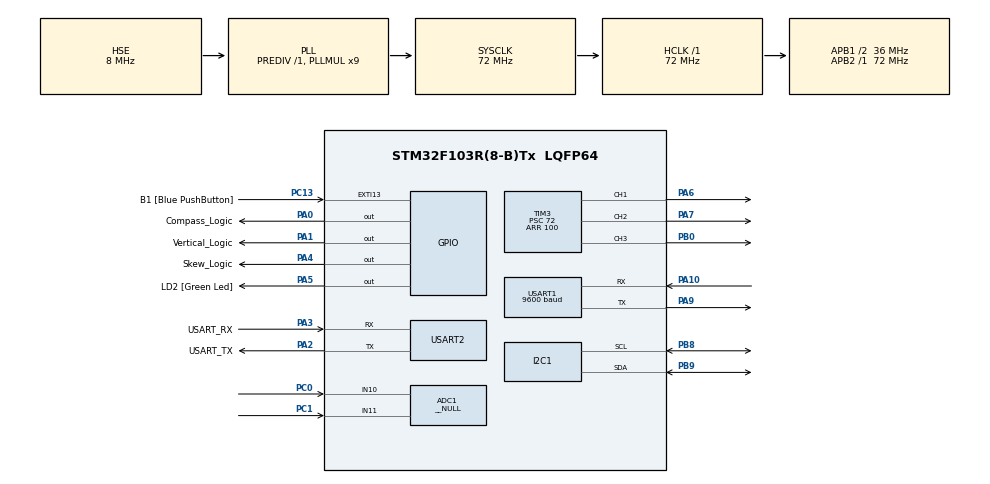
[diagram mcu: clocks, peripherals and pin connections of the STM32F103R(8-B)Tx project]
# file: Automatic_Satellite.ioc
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ADC1.Channel-3\#ChannelRegularConversion=ADC_CHANNEL_10
ADC1.Channel-4\#ChannelRegularConversion=ADC_CHANNEL_11
ADC1.ContinuousConvMode=ENABLE
ADC1.EnableAnalogWatchDog=false
ADC1.Mode=__NULL
ADC1.NbrOfConversion=2
ADC1.NbrOfConversionFlag=1
ADC1.Rank-3\#ChannelRegularConversion=1
ADC1.Rank-4\#ChannelRegularConversion=2
ADC1.SamplingTime-3\#ChannelRegularConversion=ADC_SAMPLETIME_28CYCLES_5
ADC1.SamplingTime-4\#ChannelRegularConversion=ADC_SAMPLETIME_28CYCLES_5
ADC1.master=1
I2C1.I2C_Mode=I2C_Fast
Mcu.Family=STM32F1
Mcu.Name=STM32F103R(8-B)Tx
Mcu.Package=LQFP64
NVIC.ADC1_2_IRQn=true\:0\:0\:false\:false\:true\:true\:true
NVIC.EXTI15_10_IRQn=true\:0\:0\:false\:false\:true\:true\:true
NVIC.PriorityGroup=NVIC_PRIORITYGROUP_4
NVIC.USART1_IRQn=true\:0\:0\:false\:false\:true\:true\:true
NVIC.USART2_IRQn=true\:0\:0\:false\:false\:true\:true\:true
PA0-WKUP.GPIO_Label=Compass_Logic
PA0-WKUP.Signal=GPIO_Output
PA1.GPIO_Label=Vertical_Logic
PA1.Signal=GPIO_Output
PA10.GPIO_PuPd=GPIO_PULLUP
PA10.Mode=Asynchronous
PA10.Signal=USART1_RX
PA13.GPIO_Label=TMS
PA13.Mode=Serial_Wire
PA13.Signal=SYS_JTMS-SWDIO
PA14.GPIO_Label=TCK
PA14.Mode=Serial_Wire
PA14.Signal=SYS_JTCK-SWCLK
PA2.GPIO_Label=USART_TX
PA2.GPIO_Mode=GPIO_MODE_AF_PP
PA2.GPIO_PuPd=GPIO_NOPULL
PA2.GPIO_Speed=GPIO_SPEED_FREQ_LOW
PA2.Mode=Asynchronous
PA2.Signal=USART2_TX
PA3.GPIO_Label=USART_RX
PA3.GPIO_Mode=GPIO_MODE_AF_PP
PA3.GPIO_PuPd=GPIO_PULLUP
PA3.GPIO_Speed=GPIO_SPEED_FREQ_LOW
PA3.Mode=Asynchronous
PA3.Signal=USART2_RX
PA4.GPIO_Label=Skew_Logic
PA4.Signal=GPIO_Output
PA5.GPIO_Label=LD2 [Green Led]
PA5.GPIO_ModeDefaultOutputPP=GPIO_MODE_OUTPUT_PP
PA5.GPIO_PuPd=GPIO_NOPULL
PA5.GPIO_Speed=GPIO_SPEED_FREQ_LOW
PA5.Signal=GPIO_Output
PA6.Signal=S_TIM3_CH1
PA7.Signal=S_TIM3_CH2
PA9.Mode=Asynchronous
PA9.Signal=USART1_TX
PB0.Signal=S_TIM3_CH3
PB3.GPIO_Label=SWO
PB3.Signal=SYS_JTDO-TRACESWO
PB8.Mode=I2C
PB8.Signal=I2C1_SCL
PB9.Mode=I2C
PB9.Signal=I2C1_SDA
PC0.Signal=ADCx_IN10
PC1.Signal=ADCx_IN11
PC13-TAMPER-RTC.GPIO_Label=B1 [Blue PushButton]
PC13-TAMPER-RTC.GPIO_PuPd=GPIO_NOPULL
PC13-TAMPER-RTC.Signal=GPXTI13
PC14-OSC32_IN.Mode=LSE-External-Oscillator
PC14-OSC32_IN.Signal=RCC_OSC32_IN
PC15-OSC32_OUT.Mode=LSE-External-Oscillator
PC15-OSC32_OUT.Signal=RCC_OSC32_OUT
PD0-OSC_IN.Mode=HSE-External-Oscillator
PD0-OSC_IN.Signal=RCC_OSC_IN
PD1-OSC_OUT.Mode=HSE-External-Oscillator
PD1-OSC_OUT.Signal=RCC_OSC_OUT
ProjectManager.HeapSize=0x200
ProjectManager.StackSize=0x400
ProjectManager.TargetToolchain=MDK-ARM V5
RCC.ADCPresc=RCC_ADCPCLK2_DIV6
RCC.AHBFreq_Value=72000000
RCC.APB1CLKDivider=RCC_HCLK_DIV2
RCC.APB1Freq_Value=36000000
RCC.APB1TimFreq_Value=72000000
RCC.APB2Freq_Value=72000000
RCC.APB2TimFreq_Value=72000000
RCC.HCLKFreq_Value=72000000
RCC.PLLMUL=RCC_PLL_MUL9
RCC.PLLSourceVirtual=RCC_PLLSOURCE_HSE
RCC.RTCClockSelection=RCC_RTCCLKSOURCE_LSE
RCC.SYSCLKFreq_VALUE=72000000
RCC.SYSCLKSource=RCC_SYSCLKSOURCE_PLLCLK
RCC.USBFreq_Value=72000000
SH.ADCx_IN10.0=ADC1_IN10,IN10
SH.ADCx_IN11.0=ADC1_IN11,IN11
SH.S_TIM3_CH1.0=TIM3_CH1,PWM Generation1 CH1
SH.S_TIM3_CH2.0=TIM3_CH2,PWM Generation2 CH2
SH.S_TIM3_CH3.0=TIM3_CH3,PWM Generation3 CH3
TIM3.Channel-PWM\ Generation1\ CH1=TIM_CHANNEL_1
TIM3.Channel-PWM\ Generation2\ CH2=TIM_CHANNEL_2
TIM3.Channel-PWM\ Generation3\ CH3=TIM_CHANNEL_3
TIM3.Period=100
TIM3.Prescaler=72
USART1.BaudRate=9600
USART1.VirtualMode=VM_ASYNC
USART2.VirtualMode=VM_ASYNC
VP_TIM3_VS_ClockSourceINT.Mode=Internal
board=NUCLEO-F103RB

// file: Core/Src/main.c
/* USER CODE BEGIN Header */
/**
  ******************************************************************************
  * @file           : main.c
  * @brief          : Main program body
	* @Programmer     : Mingxiao Li
  ******************************************************************************
  * @attention
  *
  * Copyright (c) 2022 STMicroelectronics.
  * All rights reserved.
  *
  * This software is licensed under terms that can be found in the LICENSE file
  * in the root directory of this software component.
  * If no LICENSE file comes with this software, it is provided AS-IS.
  *
  ******************************************************************************
  */
/* USER CODE END Header */
#include "main.h"
#include "adc.h"
#include "i2c.h"
#include "tim.h"
#include "usart.h"
#include "gpio.h"

/* USER CODE BEGIN Includes */
#include "string.h"
#include "GPS.h"
#include "bno055.h"
#include "bno055_stm32.h"
#include "PWM.h"
#include "function.h"
#include "signal_strength.h"
/* USER CODE END Includes */

/* USER CODE BEGIN PV */
	Coo_Cal Coordinate;//GPS type
 	bno055_vector_t vmg;// mag type
  bno055_vector_t vag;//Acc type
	bno055_vector_t vg,vgy;
	bno055_calibration_state_t cs;
	bno055_calibration_data_t cd;
	Radians thetaphi;
	tilt_YX tilted;
	DM la, lo;
	loc dish;
	loc sat_82,
				sat_91,
				sat_91_82;
	GPSang angs;//GPS_Angles
	double ini_set = 30;//the largest angle thet the skew moter can go
  double Compass=0;
	double Xg=0,Yg=0,Zg=0;

	bool is_cmps = false;
	bool is_vert = false;
	bool is_skew = false;

	/*********Signal Strength********/
	strs test_s;// the signal strength after move
	strs last_s;// the signal strength before move
	strs best_s;// the best signal strength the dish have
	GPSang test_ang;//the 3 angles for current dish position

	bool is_str_test = false;//we need to enter the signal strength test
	int cal_ang_read = 0;

	bool cmps_finish = false;
	bool cmps_reverse = false;
	bool cmps_increase = false;
	bool cmps_inc_delay = false;
	bool cmps_delay_off = false;
	bool is_cmps_in_range = false;
	int cmps_inc_counter = 0;
	int cmps_counter = 0;

	bool vert_finish = false;
	bool vert_reverse = false;
	bool vert_increase = false;
	bool vert_inc_delay = false;
	bool vert_delay_off = false;
	bool is_vert_in_range = false;

	int vert_inc_counter = 0;
	int vert_counter = 0;

	uint16_t Nimq82,Nimq91;//adc variables

/* USER CODE END PV */

void SystemClock_Config(void);

int main(void)
 {
  /* USER CODE BEGIN 1 */
	//Shuo
	/*********************************GPS Angle Variables*********************************/
	//Nimiq 82
		double pie = 3.1415926;
	  sat_82.lati = 0;
		sat_82.longi = -82*pie/180;;
	//Nimiq 91
	  sat_91.lati = 0;
	  sat_91.longi = -91*pie/180;
		sat_91_82.lati = 0;
	sat_91_82.longi = (sat_91.longi+sat_82.longi)/2;
	/*********calculation_&_moves********/

	//strength
	/****************************************************************************/

  /* USER CODE END 1 */

  /* MCU Configuration--------------------------------------------------------*/

  /* Reset of all peripherals, Initializes the Flash interface and the Systick. */
  HAL_Init();

  /* Configure the system clock */
  SystemClock_Config();

  /* Initialize all configured peripherals */
  MX_GPIO_Init();
  MX_TIM3_Init();
  MX_USART1_UART_Init();
  MX_USART2_UART_Init();
  MX_ADC1_Init();
  MX_I2C1_Init();
  /* USER CODE BEGIN 2 */
	/*******************I/O Initializations**************/
	/**************GPS Initialization************/
	GPS_Init();		 //Compass Initialization
	/*********************Adafruit**********************/
	bno055_assignI2C(&hi2c1);
	bno055_setup();
  bno055_setOperationModeCOMPASS();

	/*****************Motors PWM Control Init***** ***/
 	HAL_TIM_PWM_Start(&htim3, TIM_CHANNEL_1);
 	HAL_TIM_PWM_Start(&htim3, TIM_CHANNEL_2);
 	HAL_TIM_PWM_Start(&htim3, TIM_CHANNEL_3);

	/********Parse and Import GPS Coordinate */

  for(int i=0;i<100;i++)
	{
		GPS_ext();
		Coordinate = Ext_Dec();
	}

	la.deg = Coordinate.La_De;
	la.min = Coordinate.La_Min_De;
	la.a = 'n';
	lo.deg = Coordinate.Lo_De;
	lo.min = Coordinate.Lo_Min_De;
	lo.a = 'w';
	dish = MtoR(la, lo);//minute degree to decimal degress
// 			 dish.lati= 50.40758696958*3.141592654/180;
//   dish.longi=-104.6602968666*3.141592654/180;
	angs = cal_ang(dish, sat_91_82 );
	printf("Calibrating.......");
	Compass_Calibration();
	TIM3->CCR1=0;
	HAL_Delay(5000);
  cd=bno055_getCalibrationData();
	HAL_Delay(1000);
  bno055_setCalibrationData(cd);
	HAL_Delay(5000);
	cs=bno055_getCalibrationState();

  /* USER CODE END 2 */

  /* Infinite loop */
  while (1)
  {

    /* USER CODE BEGIN 3 */
		/*****ADC 82 91 signal strength********/
		ADC_Select_CH10();
	  HAL_ADC_Start(&hadc1);
		HAL_ADC_PollForConversion(&hadc1,1000);
		Nimq82=HAL_ADC_GetValue(&hadc1);
	  HAL_ADC_Stop(&hadc1);
		ADC_Select_CH11();
	  HAL_ADC_Start(&hadc1);
		HAL_ADC_PollForConversion(&hadc1,1000);
		Nimq91=HAL_ADC_GetValue(&hadc1);
		HAL_ADC_Stop(&hadc1);
		//3.07V  98% strength for nimq 82
		//3.3V/4096 * value= real value
		/***************Compass_3Axis**************Saved to CMPS**********/

		vmg= bno055_getVectorMagnetometer();
    vag= bno055_getVectorAccelerometer();
    vg= bno055_getVectorEuler();
 	  Xg=vg.xg;//yaw
 	  Yg=vg.yg;//roll
 	  Zg=90-(vg.zg);//pitch
		thetaphi=theta_phi_rad(vag.xg, vag.yg, vag.zg);
		tilted=normalized_azimuth(vmg.xg, vmg.yg, vmg.zg, thetaphi.theta, thetaphi.phi);
		Compass=(tilted.Azimuth)+18;
//  		printf("True North Azimuth = %d \r\n",Compass);
	   //printf("Heading: %.2f Roll: %.2f Pitch: %.2f\r\n", vg.xg, vg.yg, vg.zg);

 		/*****************calculation_&_moves*****************************************/
		//50.40758696958, -104.6602968666

		//50 24.4524307N, 104 39.6133385W
		//if not achieve the calculating angles, moters move
	if((Compass>((angs.compass)-3)&&Compass<((angs.compass)+3))&&
		(Yg>((angs.vertical)-2)&&Yg<((angs.vertical)+2))&&(Zg>((angs.skew)-1)&&Zg<((angs.skew)+1))){
			if(cmps_finish && vert_finish)
			{
					   is_str_test = true;
			}
			else { is_str_test = true; }

		 ADC_Select_CH10();
	   HAL_ADC_Start(&hadc1);
	   HAL_ADC_PollForConversion(&hadc1,1000);
	   Nimq82=HAL_ADC_GetValue(&hadc1);
		 HAL_ADC_Stop(&hadc1);
		 ADC_Select_CH11();
		 HAL_ADC_Start(&hadc1);
		 HAL_ADC_PollForConversion(&hadc1,1000);
		 Nimq91=HAL_ADC_GetValue(&hadc1);
		 HAL_ADC_Stop(&hadc1);
		 test_s = load_str(Nimq82, Nimq91, angs);
		 best_s = load_str(Nimq82, Nimq91, angs);

					/*****************************signal strength test********************************************/
		if(is_str_test)
		{
			//*********compass*********//
			if (!cmps_finish)
			{
				last_s = copy(test_s);//copy the angles, signals for compare
				//compass motor move for signal chack
				if (!cmps_reverse)	{ TIM3->CCR1 = 25;
															HAL_Delay(300);
															TIM3->CCR1 = 0;
															HAL_Delay(1000);
															Compass=(tilted.Azimuth)+18; }
				else 								{   TIM3->CCR1 = 0;
													      GPIOA->ODR |=GPIO_ODR_ODR0;
															  TIM3->CCR1 = 25;
															  HAL_Delay(300);
															  TIM3->CCR1 = 0;
															  HAL_Delay(1000);
															  GPIOA->ODR&=~GPIO_ODR_ODR0;
																Compass=(tilted.Azimuth)+18; }

				if (cal_ang_read == 0)
				{
				//Load ADC data from CH10 and CH11
				ADC_Select_CH10();
				HAL_ADC_Start(&hadc1);
				HAL_ADC_PollForConversion(&hadc1,1000);
				Nimq82=HAL_ADC_GetValue(&hadc1);
				HAL_ADC_Stop(&hadc1);
				ADC_Select_CH11();
				HAL_ADC_Start(&hadc1);
				HAL_ADC_PollForConversion(&hadc1,1000);
				Nimq91=HAL_ADC_GetValue(&hadc1);
				HAL_ADC_Stop(&hadc1);
				//Read compass angle from Eular
				vg = bno055_getVectorEuler();
				test_ang = load_ang(vg);
				test_s = load_str(Nimq82, Nimq91, test_ang);
				cal_ang_read++;
				}
				cmps_increase = sig_increase(test_s, last_s);//bool
				cmps_inc_delay = delay_off(cmps_inc_counter);//bool
				HAL_Delay(500);
				//if signal for compass moving didn't increase
				if (!cmps_increase)
				{
					//2 chance for not increase chacking move or reverse motor
					if (!cmps_inc_delay) { cmps_inc_counter++; }
					else
					{
						cmps_reverse = reverse_moter(cmps_reverse);
						cmps_inc_counter = 0;

						cmps_delay_off = delay_off(cmps_counter);//bool
						if (cmps_delay_off) 		 { cmps_finish = true; printf("cmps finish /r/n");}
						else if (cmps_inc_delay) { cmps_counter++; }
						else										 {}
					}//cmps_inc_delay
				}//!cmps_increase

				// signal for compass moving increase
				else
				{
					//3 chance head shacking or finish compass
					if(!cmps_delay_off)
					{
						if (better_sig(test_s, best_s)){best_s = copy(test_s);printf("The best C reload /r/n");}
						else  												 {printf("not load /r/n");}
					}//!cmps_delay_off
					else
					{
						//compass motor move for achieve the best signal
						if (Compass<((best_s.ang.compass)-1)||Compass>((best_s.ang.compass)+1))
						{
							HAL_Delay(500);
							if(Compass<(best_s.ang.compass-1)) {
							TIM3->CCR1 = 25;
							HAL_Delay(300);
							TIM3->CCR1 = 0;
							HAL_Delay(1000); Compass=(tilted.Azimuth)+18;}
							else    										 			 {
							TIM3->CCR1 = 0;
							GPIOA->ODR |=GPIO_ODR_ODR0;
							TIM3->CCR1 = 25;
							HAL_Delay(300);
							TIM3->CCR1 = 0;
							HAL_Delay(1000);
							GPIOA->ODR&=~GPIO_ODR_ODR0;Compass=(tilted.Azimuth)+18;}
						}
						else { TIM3->CCR1 = 0; is_cmps_in_range = true;}
					}//cmps_delay_off
				}//cmps_increase
			}//! compass_finish
			else
			{
				TIM3->CCR1 = 0;
				cmps_finish = true;
			//*********vertical*********//
			if (!vert_finish)
			{
				last_s = copy(test_s);//copy the angles, signals
				if (!vert_reverse) { vertical_up();  }
				else 							 { vertical_down();  }
				if (cal_ang_read == 1)
				{
				//Load ADC data from CH10 and CH11
				ADC_Select_CH10();
				HAL_ADC_Start(&hadc1);
				HAL_ADC_PollForConversion(&hadc1,1000);
				Nimq82=HAL_ADC_GetValue(&hadc1);
				HAL_ADC_Stop(&hadc1);
				ADC_Select_CH11();
				HAL_ADC_Start(&hadc1);
				HAL_ADC_PollForConversion(&hadc1,1000);
				Nimq91=HAL_ADC_GetValue(&hadc1);
				HAL_ADC_Stop(&hadc1);
				//Read Vertical angle from Eular
				vg = bno055_getVectorEuler();
				test_ang = load_ang(vg);
				test_s = load_str(Nimq82, Nimq91, test_ang);
				cal_ang_read++;
				}
				vert_increase = sig_increase(test_s, last_s);//bool
				vert_inc_delay = delay_off(vert_inc_counter);//bool
				HAL_Delay(500);
				if (!vert_increase)
				{
					if (!vert_inc_delay) { vert_inc_counter++; }
					else
					{
						vert_reverse = reverse_moter(vert_reverse);
						vert_inc_counter = 0;

						vert_delay_off = delay_off(vert_counter);//bool
						if (vert_delay_off) 		 { vert_finish = true; printf("vert finish /r/n");}
						else if (vert_inc_delay) { vert_counter++; }
						else										 {}
					}//vert_inc_delay
				}//!vert_finish
				else
				{
					if (!vert_delay_off)
					{
						if (better_sig(test_s, best_s)){best_s = copy(test_s); printf("The best v reload /r/n");}
						else  												 {printf("not load /r/n");}
					}
					else
					{
						//vertical motor move
						if (Yg<((best_s.ang.vertical)-1)||Yg>((best_s.ang.vertical)+1))
						{
							HAL_Delay(500);
							if(Yg<(angs.vertical-1)) { vertical_up(); }
							else    								 { vertical_down(); }
						}
						else { TIM3->CCR2=0; is_vert_in_range = true;}
					}//vert_delay_off
				}//vert_increase
			}
			else
			{
				TIM3->CCR1=0;
				TIM3->CCR2=0;
				break;
			}//vert_finish
			}//cmps_finish
		}//is_str_test
		}
		else
		{
			if (Zg<((angs.skew)-1)||Zg>((angs.skew)+1)){
			HAL_Delay(500);
			//skew motor move
			if (Zg<((angs.skew)-1)){
			skew_R();
			}else
			skew_L();
			}
				else{
				TIM3->CCR3=0;
				//vertical motor move
				if (Yg<((angs.vertical)-2)||Yg>((angs.vertical)+2)){
			  HAL_Delay(500);
				if (Yg<((angs.vertical)-2)){
				vertical_up();
				}else
				vertical_down();
			}
				else{
					TIM3->CCR2=0;
					//compass motor move
					if (Compass<((angs.compass)-3)||Compass>((angs.compass)+3)){
					HAL_Delay(500);
					if(Compass<(angs.compass)-3){
					compass_F();
					Compass=(tilted.Azimuth)+18;
					}
					else compass_R();
					Compass=(tilted.Azimuth)+18;
					}else
					TIM3->CCR1 = 0;  	} }
    }

	}//while loop bracket
  /* USER CODE END 3 */
}

void SystemClock_Config(void)
{
  RCC_OscInitTypeDef RCC_OscInitStruct = {0};
  RCC_ClkInitTypeDef RCC_ClkInitStruct = {0};
  RCC_PeriphCLKInitTypeDef PeriphClkInit = {0};

  /** Initializes the RCC Oscillators according to the specified parameters
  * in the RCC_OscInitTypeDef structure.
  */
  RCC_OscInitStruct.OscillatorType = RCC_OSCILLATORTYPE_HSE;
  RCC_OscInitStruct.HSEState = RCC_HSE_ON;
  RCC_OscInitStruct.HSEPredivValue = RCC_HSE_PREDIV_DIV1;
  RCC_OscInitStruct.HSIState = RCC_HSI_ON;
  RCC_OscInitStruct.PLL.PLLState = RCC_PLL_ON;
  RCC_OscInitStruct.PLL.PLLSource = RCC_PLLSOURCE_HSE;
  RCC_OscInitStruct.PLL.PLLMUL = RCC_PLL_MUL9;
  if (HAL_RCC_OscConfig(&RCC_OscInitStruct) != HAL_OK)
  {
    Error_Handler();
  }
  /** Initializes the CPU, AHB and APB buses clocks
  */
  RCC_ClkInitStruct.ClockType = RCC_CLOCKTYPE_HCLK|RCC_CLOCKTYPE_SYSCLK
                              |RCC_CLOCKTYPE_PCLK1|RCC_CLOCKTYPE_PCLK2;
  RCC_ClkInitStruct.SYSCLKSource = RCC_SYSCLKSOURCE_PLLCLK;
  RCC_ClkInitStruct.AHBCLKDivider = RCC_SYSCLK_DIV1;
  RCC_ClkInitStruct.APB1CLKDivider = RCC_HCLK_DIV2;
  RCC_ClkInitStruct.APB2CLKDivider = RCC_HCLK_DIV1;

  if (HAL_RCC_ClockConfig(&RCC_ClkInitStruct, FLASH_LATENCY_2) != HAL_OK)
  {
    Error_Handler();
  }
  PeriphClkInit.PeriphClockSelection = RCC_PERIPHCLK_ADC;
  PeriphClkInit.AdcClockSelection = RCC_ADCPCLK2_DIV6;
  if (HAL_RCCEx_PeriphCLKConfig(&PeriphClkInit) != HAL_OK)
  {
    Error_Handler();
  }
}

/* USER CODE BEGIN 4 */
void HAL_UART_RxCpltCallback(UART_HandleTypeDef *huart)
{
	GPS_CallBack();
	/* Prevent unused argument(s) compilation warning */
  UNUSED(huart);
  /* NOTE: This function should not be modified, when the callback is needed,
  the HAL_UART_RxCpltCallback could be implemented in the user file
  */

	 //HAL_UART_Transmit(&huart2, &GPS.rxTmp, 1, 1000);

}
int fputc(int ch,FILE *f)
{
	HAL_UART_Transmit (&huart2 ,(uint8_t *)&ch,1,HAL_MAX_DELAY );
	return ch;
}

/* USER CODE END 4 */

void Error_Handler(void)
{
  __disable_irq();
  while (1)
  {
  }
}
